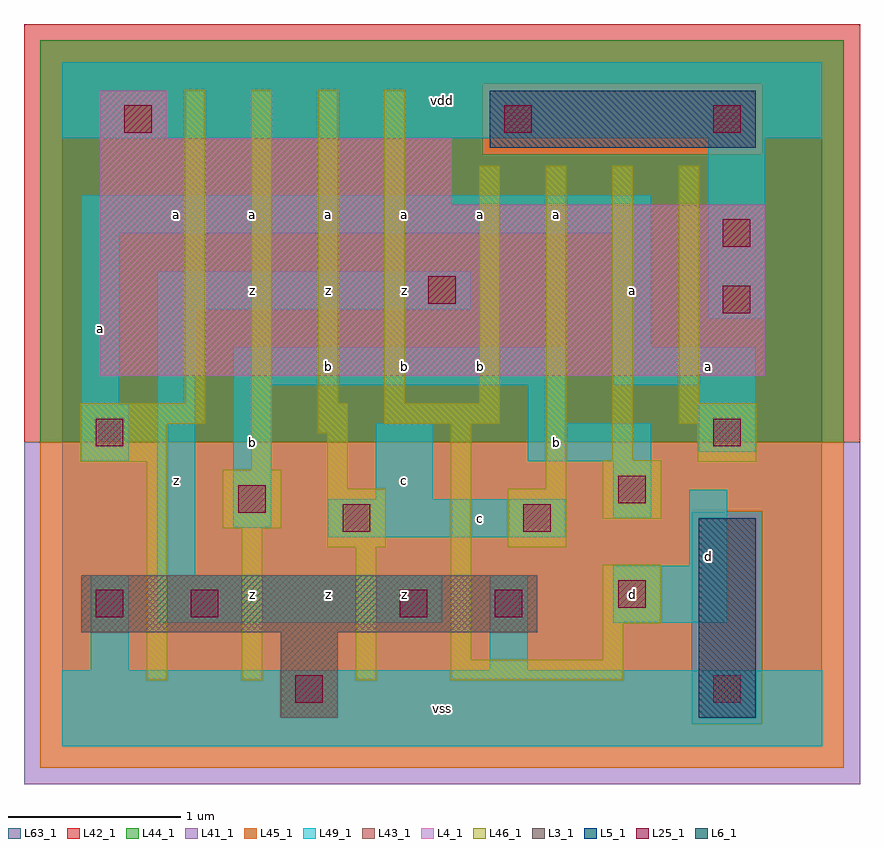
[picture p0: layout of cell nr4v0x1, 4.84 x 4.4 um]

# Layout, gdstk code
import gdstk
lib = gdstk.Library(unit=1e-6, precision=1e-09)
def R(c, l, rs):  # rectangles x0, y0, x1, y1
    for r in rs: c.add(gdstk.rectangle(r[:2], r[2:], *l))
L3_1 = (3, 1)
L4_1 = (4, 1)
L5_1 = (5, 1)
L6_1 = (6, 1)
L25_1 = (25, 1)
L41_1 = (41, 1)
L42_1 = (42, 1)
L43_1 = (43, 1)
L44_1 = (44, 1)
L45_1 = (45, 1)
L46_1 = (46, 1)
L49_1 = (49, 1)
L63_1 = (63, 1)

nr4v0x1 = lib.new_cell('nr4v0x1')
R(nr4v0x1, L3_1, [(1.265,0.165,1.595,0.66), (0.11,0.66,2.75,0.99)])
R(nr4v0x1, L4_1, [(0.22,2.145,4.07,3.135), (0.22,3.135,2.255,3.52), (0.22,3.52,0.605,3.795)])
R(nr4v0x1, L5_1, [(2.475,3.465,4.015,3.795)])
R(nr4v0x1, L6_1, [(3.685,0.165,4.015,1.32)])
R(nr4v0x1, L25_1, [(1.35,0.25,1.51,0.41), (3.77,0.25,3.93,0.41), (0.195,0.745,0.355,0.905), (0.745,0.745,0.905,0.905), (1.955,0.745,2.115,0.905), (2.505,0.745,2.665,0.905), (3.22,0.8,3.38,0.96), (1.625,1.24,1.785,1.4), (2.67,1.24,2.83,1.4), (1.02,1.35,1.18,1.51), (3.22,1.405,3.38,1.565), (0.195,1.735,0.355,1.895), (3.77,1.735,3.93,1.895), (3.825,2.505,3.985,2.665), (2.12,2.56,2.28,2.72), (3.825,2.89,3.985,3.05), (0.36,3.55,0.52,3.71), (2.56,3.55,2.72,3.71), (3.77,3.55,3.93,3.71)])
R(nr4v0x1, L41_1, [(-0.22,-0.22,4.62,1.76)])
R(nr4v0x1, L42_1, [(-0.22,1.76,4.62,4.18)])
R(nr4v0x1, L43_1, [(1.265,0.165,1.595,0.66), (3.685,0.165,4.015,1.32), (0.11,0.66,2.75,0.99), (0.22,2.145,4.07,3.135), (0.22,3.135,2.255,3.52), (2.475,3.465,4.015,3.795), (0.22,3.52,0.605,3.795)])
R(nr4v0x1, L44_1, [(3.645,0.125,4.055,1.36), (-0.125,1.76,4.525,3.425), (-0.125,3.425,2.435,3.835), (4.055,3.425,4.525,3.835), (-0.125,3.835,4.525,4.085)])
R(nr4v0x1, L45_1, [(-0.125,-0.125,4.525,0.125), (-0.125,0.125,3.645,1.36), (4.055,0.125,4.525,1.36), (-0.125,1.36,4.525,1.76), (2.435,3.425,4.055,3.835)])
R(nr4v0x1, L46_1, [(0.49,0.38,0.61,1.645), (1.04,0.38,1.16,1.26), (1.7,0.38,1.82,1.15), (2.25,0.38,3.25,0.5), (2.25,0.5,2.37,1.865), (3.13,0.5,3.25,0.71), (3.13,0.71,3.47,1.05), (1.535,1.15,1.875,1.49), (2.58,1.15,2.92,1.49), (0.93,1.26,1.27,1.6), (3.13,1.315,3.47,1.655), (1.535,1.49,1.655,1.81), (2.8,1.49,2.92,3.36), (1.095,1.6,1.215,3.8), (0.105,1.645,0.61,1.865), (3.68,1.645,4.02,1.865), (3.185,1.655,3.305,3.36), (1.48,1.81,1.655,1.985), (0.105,1.865,0.83,1.985), (1.865,1.865,2.535,1.985), (3.57,1.865,4.02,1.985), (0.71,1.985,0.83,3.8), (1.48,1.985,1.6,3.8), (1.865,1.985,1.985,3.8), (2.415,1.985,2.535,3.36), (3.57,1.985,3.69,3.36)])
R(nr4v0x1, L49_1, [(0,0,4.4,0.44), (0.165,0.44,0.385,0.99), (2.475,0.44,2.695,0.99), (0.55,0.715,2.2,0.99), (3.19,0.715,3.85,1.045), (0.55,0.99,0.77,2.53), (3.63,1.045,3.85,1.485), (1.54,1.21,2.915,1.43), (0.99,1.265,1.21,2.09), (3.19,1.32,3.41,1.65), (1.815,1.43,2.145,1.87), (0.11,1.65,0.385,1.98), (2.695,1.65,3.41,1.87), (3.685,1.705,4.015,2.09), (2.695,1.87,2.915,2.09), (0.11,1.98,0.33,2.97), (0.99,2.09,2.915,2.31), (3.19,2.09,4.015,2.31), (3.19,2.31,3.41,2.97), (3.74,2.475,4.07,3.52), (0.55,2.53,2.365,2.75), (0.11,2.97,3.41,3.19), (0,3.52,4.4,3.96)])
R(nr4v0x1, L63_1, [(0,0,4.4,3.96)])
nr4v0x1.add(gdstk.Label('a', (0.22,2.42), layer=49, texttype=1))
nr4v0x1.add(gdstk.Label('z', (1.54,0.88), layer=49, texttype=1))
nr4v0x1.add(gdstk.Label('z', (1.1,0.88), layer=49, texttype=1))
nr4v0x1.add(gdstk.Label('b', (1.1,1.76), layer=49, texttype=1))
nr4v0x1.add(gdstk.Label('z', (0.66,1.54), layer=49, texttype=1))
nr4v0x1.add(gdstk.Label('b', (1.54,2.2), layer=49, texttype=1))
nr4v0x1.add(gdstk.Label('z', (1.54,2.64), layer=49, texttype=1))
nr4v0x1.add(gdstk.Label('z', (1.1,2.64), layer=49, texttype=1))
nr4v0x1.add(gdstk.Label('a', (1.54,3.08), layer=49, texttype=1))
nr4v0x1.add(gdstk.Label('a', (1.1,3.08), layer=49, texttype=1))
nr4v0x1.add(gdstk.Label('a', (0.66,3.08), layer=49, texttype=1))
nr4v0x1.add(gdstk.Label('vss', (2.2,0.22), layer=49, texttype=1))
nr4v0x1.add(gdstk.Label('z', (1.98,0.88), layer=49, texttype=1))
nr4v0x1.add(gdstk.Label('c', (2.42,1.32), layer=49, texttype=1))
nr4v0x1.add(gdstk.Label('c', (1.98,1.54), layer=49, texttype=1))
nr4v0x1.add(gdstk.Label('b', (2.42,2.2), layer=49, texttype=1))
nr4v0x1.add(gdstk.Label('b', (1.98,2.2), layer=49, texttype=1))
nr4v0x1.add(gdstk.Label('z', (1.98,2.64), layer=49, texttype=1))
nr4v0x1.add(gdstk.Label('a', (2.42,3.08), layer=49, texttype=1))
nr4v0x1.add(gdstk.Label('a', (1.98,3.08), layer=49, texttype=1))
nr4v0x1.add(gdstk.Label('vdd', (2.2,3.74), layer=49, texttype=1))
nr4v0x1.add(gdstk.Label('d', (3.3,0.88), layer=49, texttype=1))
nr4v0x1.add(gdstk.Label('b', (2.86,1.76), layer=49, texttype=1))
nr4v0x1.add(gdstk.Label('a', (3.3,2.64), layer=49, texttype=1))
nr4v0x1.add(gdstk.Label('a', (2.86,3.08), layer=49, texttype=1))
nr4v0x1.add(gdstk.Label('d', (3.74,1.1), layer=49, texttype=1))
nr4v0x1.add(gdstk.Label('a', (3.74,2.2), layer=49, texttype=1))

lib.write_gds('nr4v0x1.gds')
